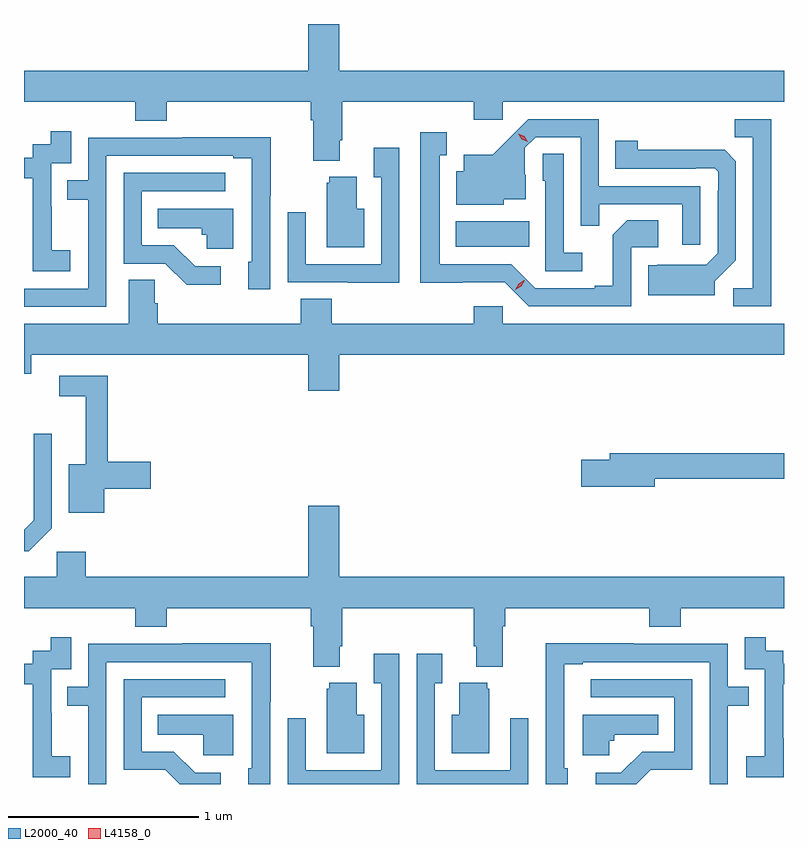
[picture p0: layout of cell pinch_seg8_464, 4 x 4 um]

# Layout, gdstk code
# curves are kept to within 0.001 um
import gdstk
lib = gdstk.Library(unit=1e-6, precision=1e-09)
def R(c, l, rs):  # rectangles x0, y0, x1, y1
    for r in rs: c.add(gdstk.rectangle(r[:2], r[2:], *l))
def P(c, l, *ps):  # polygons
    for p in ps: c.add(gdstk.Polygon(p, *l))
L2000_40 = (2000, 40)
L4158_0 = (4158, 0)

pinch_seg8_464 = lib.new_cell('pinch_seg8_464')
R(pinch_seg8_464, L2000_40, [(117.833,1134.386,118.22,1134.52)])
P(pinch_seg8_464, L2000_40, [(117.223,1134.946),(117.236,1134.946),(117.236,1135.148),(117.929,1135.148),(117.929,1135.053),(118.08,1135.053),(118.08,1135.148),(119.561,1135.148),(119.561,1135.312),(117.22,1135.312),(117.22,1135.558),(117.056,1135.558),(117.056,1135.312),(115.561,1135.312),(115.561,1135.148),(116.147,1135.148),(116.147,1135.049),(116.312,1135.049),(116.312,1135.148),(117.071,1135.148),(117.071,1135.052),(117.083,1135.052),(117.083,1134.839),(117.223,1134.839)],
  [(119.493,1135.056),(119.302,1135.056),(119.302,1134.961),(119.397,1134.961),(119.397,1134.168),(119.295,1134.168),(119.295,1134.072),(119.493,1134.072)],
  [(119.121,1134.705),(118.587,1134.705),(118.587,1135.056),(118.214,1135.056),(118.027,1134.871),(117.875,1134.871),(117.875,1134.784),(117.836,1134.784),(117.836,1134.608),(118.086,1134.608),(118.086,1134.635),(118.201,1134.635),(118.201,1134.764),(118.197,1134.764),(118.197,1134.906),(118.254,1134.963),(118.491,1134.963),(118.491,1134.496),(118.589,1134.496),(118.589,1134.609),(119.025,1134.609),(119.025,1134.396),(119.121,1134.396)],
  [(115.804,1134.367),(115.706,1134.367),(115.706,1134.596),(115.704,1134.596),(115.704,1134.825),(115.809,1134.825),(115.809,1134.994),(115.701,1134.994),(115.701,1134.924),(115.608,1134.924),(115.608,1134.855),(115.561,1134.855),(115.561,1134.747),(115.607,1134.747),(115.607,1134.463),(115.606,1134.463),(115.606,1134.257),(115.804,1134.257)],
  [(118.758,1134.384),(118.9,1134.384),(118.9,1134.524),(118.735,1134.524),(118.659,1134.448),(118.659,1134.181),(118.565,1134.181),(118.565,1134.168),(118.251,1134.168),(118.125,1134.294),(117.748,1134.294),(117.748,1134.867),(117.787,1134.867),(117.787,1134.988),(117.647,1134.988),(117.647,1134.197),(118.092,1134.198),(118.218,1134.072),(118.758,1134.072)],
  [(115.995,1134.864),(116.663,1134.864),(116.663,1134.852),(116.76,1134.852),(116.76,1134.306),(116.741,1134.306),(116.741,1134.162),(116.856,1134.162),(116.856,1134.655),(116.859,1134.655),(116.859,1134.962),(116.395,1134.962),(116.395,1134.96),(115.899,1134.96),(115.899,1134.735),(115.789,1134.735),(115.789,1134.634),(115.899,1134.634),(115.899,1134.165),(115.561,1134.165),(115.561,1134.069),(115.995,1134.069)],
  [(119.197,1134.204),(119.307,1134.314),(119.307,1134.836),(119.248,1134.895),(118.791,1134.896),(118.791,1134.943),(118.672,1134.943),(118.672,1134.795),(119.096,1134.795),(119.096,1134.798),(119.196,1134.798),(119.214,1134.78),(119.214,1134.68),(119.211,1134.68),(119.211,1134.351),(119.151,1134.291),(118.894,1134.292),(118.891,1134.289),(118.847,1134.289),(118.847,1134.131),(119.197,1134.131)],
  [(117.537,1134.907),(117.401,1134.907),(117.401,1134.751),(117.441,1134.751),(117.441,1134.294),(117.045,1134.294),(117.045,1134.568),(116.949,1134.568),(116.949,1134.198),(117.265,1134.198),(117.265,1134.197),(117.537,1134.197)],
  [(118.498,1134.355),(118.401,1134.355),(118.401,1134.875),(118.29,1134.875),(118.29,1134.732),(118.305,1134.732),(118.305,1134.258),(118.498,1134.258)],
  [(116.596,1134.282),(116.461,1134.282),(116.35,1134.393),(116.181,1134.393),(116.181,1134.678),(116.62,1134.678),(116.62,1134.774),(116.085,1134.774),(116.085,1134.297),(116.304,1134.297),(116.417,1134.185),(116.596,1134.185)],
  [(117.352,1134.586),(117.313,1134.586),(117.313,1134.754),(117.167,1134.754),(117.167,1134.723),(117.155,1134.723),(117.155,1134.383),(117.352,1134.383)],
  [(116.662,1134.586),(116.266,1134.586),(116.266,1134.482),(116.497,1134.482),(116.497,1134.45),(116.523,1134.45),(116.523,1134.374),(116.662,1134.374)],
  [(117.22,1133.816),(119.561,1133.816),(119.561,1133.98),(118.08,1133.98),(118.08,1134.073),(117.929,1134.073),(117.929,1133.98),(117.182,1133.98),(117.182,1134.113),(117.017,1134.113),(117.017,1133.98),(116.264,1133.98),(116.264,1134.089),(116.25,1134.089),(116.25,1134.212),(116.111,1134.212),(116.111,1133.98),(115.561,1133.98),(115.561,1133.718),(115.6,1133.718),(115.6,1133.816),(117.056,1133.816),(117.056,1133.628),(117.22,1133.628)],
  [(115.984,1133.113),(116.227,1133.113),(116.227,1133.255),(116.003,1133.255),(116.003,1133.706),(115.746,1133.706),(115.746,1133.598),(115.886,1133.598),(115.886,1133.242),(115.796,1133.242),(115.796,1132.985),(115.984,1132.985)],
  [(115.707,1132.905),(115.707,1133.401),(115.611,1133.401),(115.611,1132.947),(115.561,1132.897),(115.561,1132.784),(115.586,1132.784)],
  [(118.882,1133.164),(119.561,1133.164),(119.561,1133.3),(118.643,1133.3),(118.643,1133.264),(118.494,1133.264),(118.494,1133.122),(118.882,1133.122)],
  [(117.223,1132.282),(117.236,1132.282),(117.236,1132.484),(117.929,1132.484),(117.929,1132.282),(117.941,1132.282),(117.941,1132.175),(118.081,1132.175),(118.081,1132.388),(118.094,1132.388),(118.094,1132.484),(118.853,1132.484),(118.853,1132.385),(119.018,1132.385),(119.018,1132.484),(119.561,1132.484),(119.561,1132.648),(117.22,1132.648),(117.22,1133.023),(117.056,1133.023),(117.056,1132.648),(115.886,1132.648),(115.886,1132.78),(115.734,1132.78),(115.734,1132.648),(115.561,1132.648),(115.561,1132.484),(116.147,1132.484),(116.147,1132.385),(116.312,1132.385),(116.312,1132.484),(117.071,1132.484),(117.071,1132.388),(117.083,1132.388),(117.083,1132.175),(117.223,1132.175)],
  [(115.804,1131.703),(115.706,1131.703),(115.706,1131.932),(115.704,1131.932),(115.704,1132.161),(115.809,1132.161),(115.809,1132.33),(115.701,1132.33),(115.701,1132.26),(115.608,1132.26),(115.608,1132.191),(115.561,1132.191),(115.561,1132.083),(115.607,1132.083),(115.607,1131.799),(115.606,1131.799),(115.606,1131.593),(115.804,1131.593)],
  [(119.559,1131.799),(119.558,1131.799),(119.558,1132.083),(119.561,1132.083),(119.561,1132.191),(119.556,1132.191),(119.556,1132.26),(119.464,1132.26),(119.464,1132.33),(119.355,1132.33),(119.355,1132.161),(119.46,1132.161),(119.46,1131.932),(119.459,1131.932),(119.459,1131.703),(119.361,1131.703),(119.361,1131.593),(119.559,1131.593)],
  [(115.995,1132.2),(116.759,1132.2),(116.759,1131.946),(116.76,1131.946),(116.76,1131.642),(116.741,1131.642),(116.741,1131.558),(116.856,1131.558),(116.856,1131.991),(116.859,1131.991),(116.859,1132.298),(116.395,1132.298),(116.395,1132.296),(115.899,1132.296),(115.899,1132.071),(115.789,1132.071),(115.789,1131.97),(115.899,1131.97),(115.899,1131.558),(115.995,1131.558)],
  [(118.423,1131.642),(118.404,1131.642),(118.404,1132.188),(118.501,1132.188),(118.501,1132.2),(119.169,1132.2),(119.169,1131.558),(119.265,1131.558),(119.265,1131.97),(119.375,1131.97),(119.375,1132.071),(119.265,1132.071),(119.265,1132.296),(118.769,1132.296),(118.769,1132.298),(118.306,1132.298),(118.306,1131.991),(118.308,1131.991),(118.308,1131.558),(118.423,1131.558)],
  [(118.215,1131.904),(118.119,1131.904),(118.119,1131.63),(117.723,1131.63),(117.723,1132.087),(117.763,1132.087),(117.763,1132.243),(117.627,1132.243),(117.627,1131.558),(118.215,1131.558)],
  [(117.537,1132.243),(117.401,1132.243),(117.401,1132.087),(117.441,1132.087),(117.441,1131.63),(117.045,1131.63),(117.045,1131.904),(116.949,1131.904),(116.949,1131.558),(117.537,1131.558)],
  [(116.596,1131.618),(116.461,1131.618),(116.35,1131.729),(116.181,1131.729),(116.181,1132.014),(116.62,1132.014),(116.62,1132.11),(116.085,1132.11),(116.085,1131.633),(116.304,1131.633),(116.38,1131.558),(116.596,1131.558)],
  [(118.86,1131.633),(119.079,1131.633),(119.079,1132.11),(118.545,1132.11),(118.545,1132.014),(118.983,1132.014),(118.983,1131.729),(118.814,1131.729),(118.703,1131.618),(118.569,1131.618),(118.569,1131.558),(118.784,1131.558)],
  [(118.009,1132.059),(117.998,1132.059),(117.998,1132.09),(117.851,1132.09),(117.851,1131.922),(117.812,1131.922),(117.812,1131.719),(118.009,1131.719)],
  [(117.352,1131.922),(117.313,1131.922),(117.313,1132.09),(117.167,1132.09),(117.167,1132.059),(117.155,1132.059),(117.155,1131.719),(117.352,1131.719)],
  [(118.641,1131.786),(118.668,1131.786),(118.668,1131.818),(118.898,1131.818),(118.898,1131.922),(118.502,1131.922),(118.502,1131.71),(118.641,1131.71)],
  [(116.662,1131.922),(116.266,1131.922),(116.266,1131.818),(116.505,1131.818),(116.505,1131.71),(116.662,1131.71)])
P(pinch_seg8_464, L4158_0, [(118.211,1134.937),(118.18,1134.952),(118.163,1134.981),(118.163,1134.981),(118.163,1134.981),(118.194,1134.966),(118.211,1134.937),(118.211,1134.937)],
  [(118.146,1134.159),(118.146,1134.159),(118.164,1134.191),(118.195,1134.21),(118.196,1134.21),(118.196,1134.209),(118.178,1134.177),(118.146,1134.159)])

lib.write_gds('pinch_seg8_464.gds')
